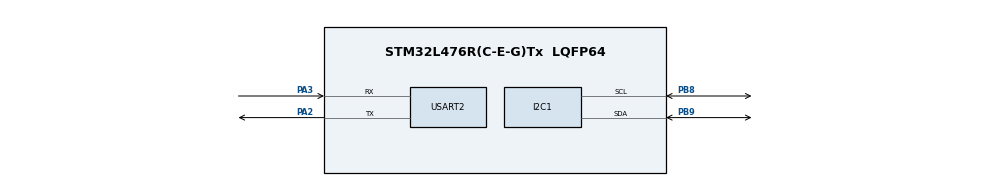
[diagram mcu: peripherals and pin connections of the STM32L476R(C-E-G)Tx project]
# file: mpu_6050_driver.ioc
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I2C1.Timing=0x00100D14
Mcu.Family=STM32L4
Mcu.Name=STM32L476R(C-E-G)Tx
Mcu.Package=LQFP64
NVIC.PriorityGroup=NVIC_PRIORITYGROUP_4
PA2.Mode=Asynchronous
PA2.Signal=USART2_TX
PA3.Mode=Asynchronous
PA3.Signal=USART2_RX
PB8.Mode=I2C
PB8.Signal=I2C1_SCL
PB9.Mode=I2C
PB9.Signal=I2C1_SDA
ProjectManager.HeapSize=0x200
ProjectManager.StackSize=0x400
ProjectManager.TargetToolchain=STM32CubeIDE
RCC.HSE_VALUE=8000000
RCC.HSI_VALUE=16000000
RCC.LSE_VALUE=32768
RCC.MSI_VALUE=4000000
RCC.VCOOutputFreq_Value=32000000
USART2.VirtualMode-Asynchronous=VM_ASYNC
board=custom

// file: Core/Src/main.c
/* USER CODE BEGIN Header */
/**
  ******************************************************************************
  * @file           : main.c
  * @brief          : Main program body
  ******************************************************************************
  * @attention
  *
  * Copyright (c) 2024 STMicroelectronics.
  * All rights reserved.
  *
  * This software is licensed under terms that can be found in the LICENSE file
  * in the root directory of this software component.
  * If no LICENSE file comes with this software, it is provided AS-IS.
  *
  ******************************************************************************
  */
/* USER CODE END Header */
#include <stdio.h>
#include "main.h"
#include "i2c.h"
#include "usart.h"
#include "gpio.h"

/* USER CODE BEGIN Includes */
#include "REG_OPTIONS.h"
#include "MPU6050.h"
#include "example.h"
#include "testFunctions.h"
/* USER CODE END Includes */

void SystemClock_Config(void);
/* USER CODE BEGIN PFP */
void SelfTests_Print(FACTORY_TEST_RESULTS gyroResults, FACTORY_TEST_RESULTS accelResults);
void ReadSetupRegisters_Print(SETUP_REGISTERS vals);
/* USER CODE END PFP */

int main(void)
{

  /* MCU Configuration--------------------------------------------------------*/

  /* Reset of all peripherals, Initializes the Flash interface and the Systick. */
  HAL_Init();

  /* Configure the system clock */
  SystemClock_Config();

  /* Initialize all configured peripherals */
  MX_GPIO_Init();
  MX_I2C1_Init();
  MX_USART2_UART_Init();
  /* USER CODE BEGIN 2 */

  MPU6050_REG_READ_TYPE* readReg = MPU6050_REG_READ_STM32;
  MPU6050_BURST_READ_TYPE* burstRead = MPU6050_BURST_READ_STM32;
  MPU6050_REG_WRITE_TYPE* writeReg = MPU6050_REG_WRITE_STM32;
  DELAY_MS_TYPE* delay = HAL_Delay;

  uint16_t result = init_mpu6050(writeReg, delay);

  //setup the low pass filter.
  writeReg(REG_CONFIG, DLPF_CFG_6 | EXT_SYNC_OFF);

  //select Gyroscope's full scale range
  writeReg(REG_GYRO_CONFIG, GYRO_FS_SEL_250_DPS);

  //select Accelerometer's full scale range
  writeReg(REG_ACCEL_CONFIG, ACCEL_FS_2G);

  //setup the sample rate divider
  writeReg(REG_SMPRT_DIV, SAMPLE_RATE_100Hz);

  SETUP_REGISTERS vals = read_setup_registers(readReg);
  ReadSetupRegisters_Print(vals);

  //enable the fifo
  writeReg(REG_USER_CTRL, FIFO_EN);
  HAL_Delay(100);

  FACTORY_TEST_RESULTS gyroResults = gyro_self_test(readReg, writeReg, delay);
  FACTORY_TEST_RESULTS accelResults = accel_self_test(readReg, writeReg, delay);
  SelfTests_Print(gyroResults, accelResults);

  poll_axes_individually(readReg);

  // //3 gyro axes at 100Hz for 1 sec
  writeReg(REG_FIFO_EN, XG_FIFO_EN | YG_FIFO_EN | ZG_FIFO_EN);
  fifo_count_test(1000, 100, 3, burstRead, readReg);

  // //3 accel axes at 100Hz for 1 sec
  writeReg(REG_FIFO_EN, ACCEL_FIFO_EN);
  fifo_count_test(1000, 100, 3, burstRead, readReg);

  // //6 axes at 100Hz for 2 sec (should fail)
  writeReg(REG_FIFO_EN, ACCEL_FIFO_EN | XG_FIFO_EN | YG_FIFO_EN | ZG_FIFO_EN);
  fifo_count_test(2000, 100, 6, burstRead, readReg);

  // //3 accel axes at 100Hz for 2 sec (should fail)
  writeReg(REG_FIFO_EN, ACCEL_FIFO_EN);
  fifo_count_test(2000, 100, 3, burstRead, readReg);

  // //6 axes at 100Hz for 350ms
  writeReg(REG_FIFO_EN, ACCEL_FIFO_EN | XG_FIFO_EN | YG_FIFO_EN | ZG_FIFO_EN);
  fifo_count_test(350, 100, 6, burstRead, readReg);

  //6 axes at 50Hz for 800ms
  writeReg(REG_SMPRT_DIV, SAMPLE_RATE_50Hz);
  writeReg(REG_FIFO_EN, ACCEL_FIFO_EN | XG_FIFO_EN | YG_FIFO_EN | ZG_FIFO_EN);
  fifo_count_test(800, 50, 6, burstRead, readReg);

  //6 axes at 200Hz for 200ms
  writeReg(REG_SMPRT_DIV, SAMPLE_RATE_200Hz);
  writeReg(REG_FIFO_EN, ACCEL_FIFO_EN | XG_FIFO_EN | YG_FIFO_EN | ZG_FIFO_EN);
  fifo_count_test(200, 200, 6, burstRead, readReg);

  //seems like the fifo doesn't like to work if it gets filled with much more than 600 bytes?
  writeReg(REG_SMPRT_DIV, SAMPLE_RATE_100Hz);
  writeReg(REG_FIFO_EN, 0); //disable fifo for poll axis test

  writeReg(REG_FIFO_EN, ACCEL_FIFO_EN | XG_FIFO_EN | YG_FIFO_EN | ZG_FIFO_EN);
  read_fifo_test(500, burstRead, readReg);

  /* USER CODE END 2 */

  /* Infinite loop */
  while (1)
  {

  }
}

void SystemClock_Config(void)
{
  RCC_OscInitTypeDef RCC_OscInitStruct = {0};
  RCC_ClkInitTypeDef RCC_ClkInitStruct = {0};

  /** Configure the main internal regulator output voltage
  */
  if (HAL_PWREx_ControlVoltageScaling(PWR_REGULATOR_VOLTAGE_SCALE1) != HAL_OK)
  {
    Error_Handler();
  }

  /** Initializes the RCC Oscillators according to the specified parameters
  * in the RCC_OscInitTypeDef structure.
  */
  RCC_OscInitStruct.OscillatorType = RCC_OSCILLATORTYPE_MSI;
  RCC_OscInitStruct.MSIState = RCC_MSI_ON;
  RCC_OscInitStruct.MSICalibrationValue = 0;
  RCC_OscInitStruct.MSIClockRange = RCC_MSIRANGE_6;
  RCC_OscInitStruct.PLL.PLLState = RCC_PLL_NONE;
  if (HAL_RCC_OscConfig(&RCC_OscInitStruct) != HAL_OK)
  {
    Error_Handler();
  }

  /** Initializes the CPU, AHB and APB buses clocks
  */
  RCC_ClkInitStruct.ClockType = RCC_CLOCKTYPE_HCLK|RCC_CLOCKTYPE_SYSCLK
                              |RCC_CLOCKTYPE_PCLK1|RCC_CLOCKTYPE_PCLK2;
  RCC_ClkInitStruct.SYSCLKSource = RCC_SYSCLKSOURCE_MSI;
  RCC_ClkInitStruct.AHBCLKDivider = RCC_SYSCLK_DIV1;
  RCC_ClkInitStruct.APB1CLKDivider = RCC_HCLK_DIV1;
  RCC_ClkInitStruct.APB2CLKDivider = RCC_HCLK_DIV1;

  if (HAL_RCC_ClockConfig(&RCC_ClkInitStruct, FLASH_LATENCY_0) != HAL_OK)
  {
    Error_Handler();
  }
}

/* USER CODE BEGIN 4 */
void SelfTests_Print(FACTORY_TEST_RESULTS gyroResults, FACTORY_TEST_RESULTS accelResults)
{
  char buff[100];
  uint8_t buffSize = 0;

  //gyro
  buffSize = sprintf(
    buff,
    "\r\nGyro X self test: %c, change from factory trim: %f%%",
    gyroResults.failPercent > gyroResults.xAxis && gyroResults.xAxis > -gyroResults.failPercent ? 'P' : 'F' ,
    gyroResults.xAxis
  );
  HAL_UART_Transmit(&huart2, (uint8_t*)buff, buffSize, 100);
  buff[0] = '\0';

  buffSize = sprintf(
    buff,
    "\r\nGyro Y self test: %c, change from factory trim: %f%%",
    gyroResults.failPercent > gyroResults.yAxis && gyroResults.yAxis > -gyroResults.failPercent ? 'P' : 'F' ,
    gyroResults.yAxis
  );
  HAL_UART_Transmit(&huart2, (uint8_t*)buff, buffSize, 100);
  buff[0] = '\0';

  buffSize = sprintf(
    buff,
    "\r\nGyro Z self test: %c, change from factory trim: %f%%",
    gyroResults.failPercent > gyroResults.zAxis && gyroResults.zAxis > -gyroResults.failPercent ? 'P' : 'F' ,
    gyroResults.zAxis
  );
  HAL_UART_Transmit(&huart2, (uint8_t*)buff, buffSize, 100);
  buff[0] = '\0';

  //accel
  buffSize = sprintf(
    buff,
    "\r\nAccel X self test: %c, change from factory trim: %f%%",
    accelResults.failPercent > accelResults.xAxis && accelResults.xAxis > -accelResults.failPercent ? 'P' : 'F' ,
    accelResults.xAxis
  );
  HAL_UART_Transmit(&huart2, (uint8_t*)buff, buffSize, 100);
  buff[0] = '\0';

  buffSize = sprintf(
    buff,
    "\r\nAccel Y self test: %c, change from factory trim: %f%%",
    accelResults.failPercent > accelResults.yAxis && accelResults.yAxis > -accelResults.failPercent ? 'P' : 'F' ,
    accelResults.yAxis
  );
  HAL_UART_Transmit(&huart2, (uint8_t*)buff, buffSize, 100);
  buff[0] = '\0';

  buffSize = sprintf(
    buff,
    "\r\nAccel Z self test: %c, change from factory trim: %f%%",
    accelResults.failPercent > accelResults.zAxis && accelResults.zAxis > -accelResults.failPercent ? 'P' : 'F' ,
    accelResults.zAxis
  );
  HAL_UART_Transmit(&huart2, (uint8_t*)buff, buffSize, 100);
  buff[0] = '\0';
}

void ReadSetupRegisters_Print(SETUP_REGISTERS vals)
{

  char txBuff[100];
  uint8_t uart_buf_len;
  uart_buf_len = sprintf(
        txBuff,
        "\r\n\n Config Reg: \r\n  FSYNC: %d, %c\r\n  DLPF: %d, %c\r\n",
        vals.fsync,
        vals.fsync == EXT_SYNC_OFF ? 't' : 'f',
        vals.dlpf,
        vals.dlpf == DLPF_CFG_6 ? 't' : 'f'
    );
    HAL_UART_Transmit(&huart2, (uint8_t*)txBuff, uart_buf_len, 100);
    txBuff[0] = '\0';

  uart_buf_len = sprintf(
      txBuff,
      "\r\n\n Gyro Full Scale: \r\n  FS: %d, %c\r\n",
      vals.gyro_sel,
      vals.gyro_sel == GYRO_FS_SEL_250_DPS ? 't' : 'f'
  );
  HAL_UART_Transmit(&huart2, (uint8_t*)txBuff, uart_buf_len, 100);
  txBuff[0] = '\0';

  uart_buf_len = sprintf(
        txBuff,
        "\r\n\n Accel Config Reg: \r\n  Full Scale: %d, %c\r\n",
        vals.fs,
        vals.fs == ACCEL_FS_2G ? 't' : 'f'
    );
    HAL_UART_Transmit(&huart2, (uint8_t*)txBuff, uart_buf_len, 100);
    txBuff[0] = '\0';

  uart_buf_len = sprintf(
        txBuff,
        "\r\n\n Gyro SR Div: \r\n  Divider: %d, %c\r\n",
        vals.rate_div,
        vals.rate_div == SAMPLE_RATE_100Hz ? 't' : 'f'
    );
    HAL_UART_Transmit(&huart2, (uint8_t*)txBuff, uart_buf_len, 100);
    txBuff[0] = '\0';
}

/* USER CODE END 4 */

void Error_Handler(void)
{
  __disable_irq();
  while (1)
  {
  }
}
